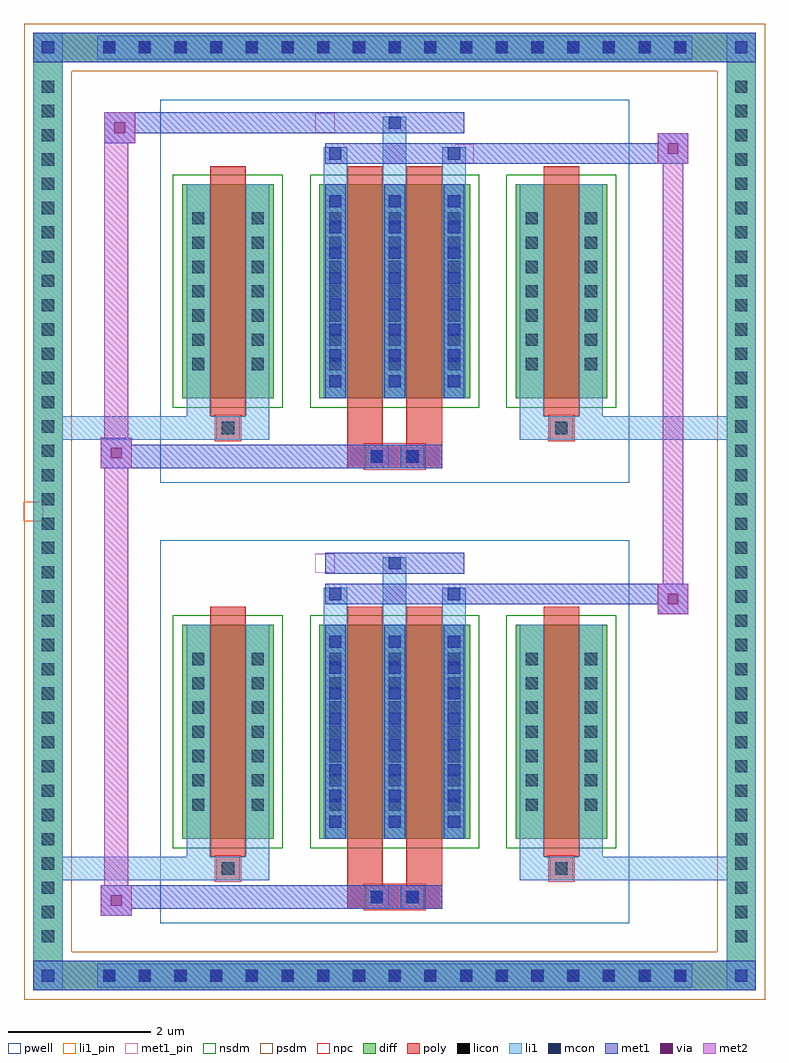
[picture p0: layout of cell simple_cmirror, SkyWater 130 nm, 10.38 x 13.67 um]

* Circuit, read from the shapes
.subckt simple_cmirror VSS
XM1 Unnamed_d2d4c8a2_13/B Unnamed_d2d4c8a2_13/B Unnamed_d2d4c8a2_13/B VSUBS sky130_fd_pr__nfet_01v8 w=3 l=0.5 m=4
XM2 Unnamed_a3629619_11/VOUT Unnamed_728062cb_10/VREF VSS VSUBS sky130_fd_pr__nfet_01v8 w=3 l=0.5 m=2
XM3 Unnamed_728062cb_10/VREF Unnamed_728062cb_10/VREF VSS VSUBS sky130_fd_pr__nfet_01v8 w=3 l=0.5 m=2
.ends

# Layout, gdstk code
import gdstk
lib = gdstk.Library(unit=1e-6, precision=5e-09)
def R(c, l, rs):  # rectangles x0, y0, x1, y1
    for r in rs: c.add(gdstk.rectangle(r[:2], r[2:], *l))
def A(c, l, x, y, w, h, nx, ny, dx, dy):  # array of equal rectangles
    R(c, l, [(x+i*dx, y+j*dy, x+i*dx+w, y+j*dy+h) for i in range(nx) for j in range(ny)])
def P(c, l, *ps):  # polygons
    for p in ps: c.add(gdstk.Polygon(p, *l))
pwell = (64, 44)
diff = (65, 20)
poly = (66, 20)
licon = (66, 44)
li1_pin = (67, 16)
li1 = (67, 20)
mcon = (67, 44)
met1_pin = (68, 16)
met1 = (68, 20)
via = (68, 44)
met2 = (69, 20)
nsdm = (93, 44)
psdm = (94, 20)
npc = (95, 20)

unnamed_410dcea9 = lib.new_cell('Unnamed_410dcea9')
R(unnamed_410dcea9, pwell, [(-3.285,-2.68,3.285,2.685)])
R(unnamed_410dcea9, diff, [(-2.975,-1.5,-1.695,1.5), (-1.055,-1.5,1.055,1.5), (1.695,-1.5,2.975,1.5)])
R(unnamed_410dcea9, poly, [(-0.665,-2.48,0.665,-2.15), (-0.415,-2.48,-0.085,-2.15), (0.085,-2.48,0.415,-2.15), (-0.665,-2.15,-0.165,-1.75), (0.165,-2.15,0.665,-1.75), (-2.5,-2.08,-2.17,-1.75), (-2.5,-2.08,-2.17,-1.75), (2.17,-2.08,2.5,-1.75), (2.17,-2.08,2.5,-1.75), (-2.585,-1.75,-2.085,1.75), (-0.665,-1.75,-0.165,1.75), (0.165,-1.75,0.665,1.75), (2.085,-1.75,2.585,1.75)])
A(unnamed_410dcea9, licon, -2.835, -1.105, 0.17, 0.17, 1, 7, 0, 0.34)
A(unnamed_410dcea9, licon, -2.005, -1.105, 0.17, 0.17, 1, 7, 0, 0.34)
A(unnamed_410dcea9, licon, -0.915, -1.105, 0.17, 0.17, 3, 7, 0.83, 0.34)
A(unnamed_410dcea9, licon, 1.835, -1.105, 0.17, 0.17, 1, 7, 0, 0.34)
A(unnamed_410dcea9, licon, 2.665, -1.105, 0.17, 0.17, 1, 7, 0, 0.34)
R(unnamed_410dcea9, licon, [(-0.335,-2.4,-0.165,-2.23), (0.165,-2.4,0.335,-2.23), (-2.42,-2,-2.25,-1.83), (2.25,-2,2.42,-1.83)])
A(unnamed_410dcea9, li1, -0.995, -1.5, 0.33, 3, 3, 1, 0.83, 0)
A(unnamed_410dcea9, li1, -0.915, -1.345, 0.17, 0.17, 3, 8, 0.83, 0.36)
A(unnamed_410dcea9, li1, -0.915, -1.345, 0.17, 2.69, 3, 1, 0.83, 0)
A(unnamed_410dcea9, li1, -2.915, -1.185, 0.33, 0.33, 1, 7, 0, 0.34)
A(unnamed_410dcea9, li1, -2.085, -1.185, 0.33, 0.33, 1, 7, 0, 0.34)
A(unnamed_410dcea9, li1, -0.995, -1.185, 0.33, 0.33, 3, 7, 0.83, 0.34)
A(unnamed_410dcea9, li1, 1.755, -1.185, 0.33, 0.33, 1, 7, 0, 0.34)
A(unnamed_410dcea9, li1, 2.585, -1.185, 0.33, 0.33, 1, 7, 0, 0.34)
R(unnamed_410dcea9, li1, [(-0.415,-2.48,-0.085,-2.15), (0.085,-2.48,0.415,-2.15), (-2.915,-2.08,-2.5,-1.75), (-2.915,-2.08,-2.585,-1.5), (-2.5,-2.08,-2.17,-1.75), (-2.17,-2.08,-1.755,-1.75), (-2.085,-2.08,-1.755,-1.5), (1.755,-2.08,2.17,-1.75), (1.755,-2.08,2.085,-1.5), (2.17,-2.08,2.5,-1.75), (2.5,-2.08,2.915,-1.75), (2.585,-2.08,2.915,-1.5), (-2.915,-1.5,-2.585,1.5), (-2.085,-1.5,-1.755,1.5), (1.755,-1.5,2.085,1.5), (2.585,-1.5,2.915,1.5), (-0.995,1.5,-0.665,2.015), (-0.165,1.5,0.165,2.445), (0.665,1.5,0.995,2.015), (-0.915,1.845,-0.745,2.015), (0.745,1.845,0.915,2.015), (-0.085,2.275,0.085,2.445)])
A(unnamed_410dcea9, mcon, -0.915, -1.345, 0.17, 0.17, 3, 8, 0.83, 0.36)
R(unnamed_410dcea9, mcon, [(-0.335,-2.4,-0.165,-2.23), (0.165,-2.4,0.335,-2.23), (-0.915,1.845,-0.745,2.015), (0.745,1.845,0.915,2.015), (-0.085,2.275,0.085,2.445)])
A(unnamed_410dcea9, met1, -0.975, -1.5, 0.29, 3, 3, 1, 0.83, 0)
A(unnamed_410dcea9, met1, -0.975, -1.405, 0.29, 0.29, 3, 8, 0.83, 0.36)
R(unnamed_410dcea9, met1, [(-0.665,-2.48,0.665,-2.15), (-0.395,-2.46,-0.105,-2.17), (0.105,-2.46,0.395,-2.17), (-0.975,1.785,-0.685,2.075), (-0.975,1.785,0.975,2.075), (0.685,1.785,0.975,2.075), (-0.975,2.215,0.975,2.505), (-0.145,2.215,0.145,2.505)])
R(unnamed_410dcea9, nsdm, [(-3.105,-1.63,-1.565,1.63), (-1.185,-1.63,1.185,1.63), (1.565,-1.63,3.105,1.63)])
R(unnamed_410dcea9, npc, [(-0.435,-2.5,-0.065,-2.13), (-0.435,-2.5,0.435,-2.13), (-0.435,-2.5,0.435,-2.13), (0.065,-2.5,0.435,-2.13), (-2.52,-2.1,-2.15,-1.73), (2.15,-2.1,2.52,-1.73)])

c_route_70ce4e25 = lib.new_cell('c_route_70ce4e25')
R(c_route_70ce4e25, met1, [(-4.115,-5.665,-3.685,-5.235), (-4.115,-5.565,-0.665,-5.235), (-4.115,0.605,-0.665,0.935), (-4.115,0.605,-3.685,1.035)])
R(c_route_70ce4e25, via, [(-3.975,-5.525,-3.825,-5.375), (-3.975,0.745,-3.825,0.895)])
R(c_route_70ce4e25, met2, [(-4.115,-5.665,-3.685,-5.235), (-3.735,-5.665,-3.685,-5.235), (-4.065,-5.66,-3.735,1.035), (-4.065,-5.615,-3.735,-5.285), (-4.115,0.605,-3.685,1.035), (-3.735,0.605,-3.685,1.035), (-4.065,0.655,-3.735,0.985)])

c_route_041a3b11 = lib.new_cell('c_route_041a3b11')
R(c_route_041a3b11, met1, [(3.685,-1.44,4.115,-1.01), (0.975,-1.3,4.115,-1.01), (0.975,4.87,4.115,5.16), (3.685,4.87,4.115,5.3)])
R(c_route_041a3b11, via, [(3.825,-1.3,3.975,-1.15), (3.825,5.01,3.975,5.16)])
R(c_route_041a3b11, met2, [(3.685,-1.44,4.115,-1.01), (3.755,-1.44,4.045,5.3), (4.045,-1.44,4.115,-1.01), (3.735,-1.39,4.065,-1.06), (3.685,4.87,4.115,5.3), (4.045,4.87,4.115,5.3), (3.735,4.92,4.065,5.25)])

l_route_6b04e5a1 = lib.new_cell('L_route_6b04e5a1')
R(l_route_6b04e5a1, met1, [(-4.065,5.16,-3.635,5.59), (-4.065,5.16,-3.635,5.59), (-4.065,5.3,-0.975,5.59)])
R(l_route_6b04e5a1, via, [(-3.925,5.3,-3.775,5.45)])
R(l_route_6b04e5a1, met2, [(-4.065,1.035,-3.735,5.585), (-4.065,5.16,-3.635,5.59), (-4.015,5.21,-3.685,5.54)])

unnamed_c754d34c_1 = lib.new_cell('Unnamed_c754d34c$1')
A(unnamed_c754d34c_1, diff, -4.205, -6.705, 0.41, 0.41, 17, 2, 0.5, 13)
A(unnamed_c754d34c_1, diff, -5.06, -6.155, 0.41, 0.41, 1, 36, 0, 0.34)
A(unnamed_c754d34c_1, diff, 4.65, -6.155, 0.41, 0.41, 1, 36, 0, 0.34)
R(unnamed_c754d34c_1, diff, [(-4.205,-6.705,4.205,-6.295), (-5.06,-6.155,-4.65,6.155), (4.65,-6.155,5.06,6.155), (-4.205,6.295,4.205,6.705)])
P(unnamed_c754d34c_1, diff, [(5.06,6.705),(-5.06,6.705),(-5.06,-6.295),(-4.65,-6.295),(-4.65,6.295),(4.65,6.295),(4.65,-6.295),(-4.65,-6.295),(-5.06,-6.295),(-5.06,-6.705),(5.06,-6.705)])
A(unnamed_c754d34c_1, licon, -4.085, -6.585, 0.17, 0.17, 17, 2, 0.5, 13)
A(unnamed_c754d34c_1, licon, -4.94, -6.035, 0.17, 0.17, 1, 36, 0, 0.34)
A(unnamed_c754d34c_1, licon, 4.77, -6.035, 0.17, 0.17, 1, 36, 0, 0.34)
A(unnamed_c754d34c_1, li1, -4.165, -6.665, 0.33, 0.33, 17, 2, 0.5, 13)
A(unnamed_c754d34c_1, li1, -5.02, -6.115, 0.33, 0.33, 1, 36, 0, 0.34)
A(unnamed_c754d34c_1, li1, 4.69, -6.115, 0.33, 0.33, 1, 36, 0, 0.34)
R(unnamed_c754d34c_1, li1, [(-5.06,-6.705,-4.65,-6.295), (4.65,-6.705,5.06,-6.295), (-4.165,-6.665,4.165,-6.335), (-4.94,-6.585,-4.77,-6.415), (-4.94,-6.585,-4.77,-6.415), (4.77,-6.585,4.94,-6.415), (4.77,-6.585,4.94,-6.415), (-5.06,-6.295,-4.65,6.295), (4.65,-6.295,5.06,6.295), (-5.06,6.295,-4.65,6.705), (4.65,6.295,5.06,6.705), (-4.165,6.335,4.165,6.665), (-4.94,6.415,-4.77,6.585), (-4.94,6.415,-4.77,6.585), (4.77,6.415,4.94,6.585), (4.77,6.415,4.94,6.585)])
A(unnamed_c754d34c_1, mcon, -4.085, -6.585, 0.17, 0.17, 17, 2, 0.5, 13)
R(unnamed_c754d34c_1, mcon, [(-4.94,-6.585,-4.77,-6.415), (4.77,-6.585,4.94,-6.415), (-4.94,6.415,-4.77,6.585), (4.77,6.415,4.94,6.585)])
A(unnamed_c754d34c_1, met1, -4.145, -6.645, 0.29, 0.29, 17, 2, 0.5, 13)
R(unnamed_c754d34c_1, met1, [(-5.06,-6.705,-4.65,-6.295), (-5.06,-6.705,-4.65,-6.295), (-4.65,-6.705,4.65,-6.295), (4.65,-6.705,5.06,-6.295), (4.65,-6.705,5.06,-6.295), (-5,-6.645,-4.71,-6.355), (4.71,-6.645,5,-6.355), (-5.06,6.295,-4.65,6.705), (-5.06,6.295,-4.65,6.705), (-4.65,6.295,4.65,6.705), (4.65,6.295,5.06,6.705), (4.65,6.295,5.06,6.705), (-5,6.355,-4.71,6.645), (4.71,6.355,5,6.645)])
P(unnamed_c754d34c_1, psdm, [(5.19,6.835),(-5.19,6.835),(-5.19,-6.165),(-4.52,-6.165),(-4.52,6.165),(4.52,6.165),(4.52,-6.165),(-4.52,-6.165),(-5.19,-6.165),(-5.19,-6.835),(5.19,-6.835)])

straight_route_ebdbceff = lib.new_cell('straight_route_ebdbceff')
R(straight_route_ebdbceff, li1, [(-5.06,1.005,-2.5,1.335)])

straight_route_e8090190 = lib.new_cell('straight_route_e8090190')
R(straight_route_e8090190, li1, [(2.5,1.005,5.06,1.335)])

straight_route_dd2e071c = lib.new_cell('straight_route_dd2e071c')
R(straight_route_dd2e071c, li1, [(-5.06,-5.165,-2.5,-4.835)])

straight_route_a95c0a01 = lib.new_cell('straight_route_a95c0a01')
R(straight_route_a95c0a01, li1, [(2.5,-5.165,5.06,-4.835)])

compass_2dab530a = lib.new_cell('compass_2dab530a')
R(compass_2dab530a, met1_pin, [(-0.135,-0.135,0.135,0.135)])

unnamed_728062cb = lib.new_cell('Unnamed_728062cb')
unnamed_728062cb.add(gdstk.Reference(compass_2dab530a, (0,0)))
unnamed_728062cb.add(gdstk.Label('VREF', (0,0), layer=68, texttype=5))

compass_2dab530a_1 = lib.new_cell('compass_2dab530a$1')
R(compass_2dab530a_1, met1_pin, [(-0.135,-0.135,0.135,0.135)])

unnamed_a3629619 = lib.new_cell('Unnamed_a3629619')
unnamed_a3629619.add(gdstk.Reference(compass_2dab530a_1, (0,0)))
unnamed_a3629619.add(gdstk.Label('VOUT', (0,0), layer=68, texttype=5))

compass_2dab530a_2 = lib.new_cell('compass_2dab530a$2')
R(compass_2dab530a_2, met1_pin, [(-0.135,-0.135,0.135,0.135)])

unnamed_f13bc8e4 = lib.new_cell('Unnamed_f13bc8e4')
unnamed_f13bc8e4.add(gdstk.Reference(compass_2dab530a_2, (0,0)))
unnamed_f13bc8e4.add(gdstk.Label('VSS', (0,0), layer=68, texttype=5))

compass_ac238b20 = lib.new_cell('compass_ac238b20')
R(compass_ac238b20, li1_pin, [(-0.135,-0.135,0.135,0.135)])

unnamed_d2d4c8a2 = lib.new_cell('Unnamed_d2d4c8a2')
unnamed_d2d4c8a2.add(gdstk.Reference(compass_ac238b20, (0,0)))
unnamed_d2d4c8a2.add(gdstk.Label('B', (0,0), layer=67, texttype=5))

simple_cmirror = lib.new_cell('simple_cmirror')
simple_cmirror.add(gdstk.Reference(unnamed_410dcea9, (0,3.085)))
simple_cmirror.add(gdstk.Reference(unnamed_410dcea9, (0,-3.085)))
simple_cmirror.add(gdstk.Reference(c_route_70ce4e25, (0,0)))
simple_cmirror.add(gdstk.Reference(c_route_041a3b11, (0,0)))
simple_cmirror.add(gdstk.Reference(l_route_6b04e5a1, (0,0)))
simple_cmirror.add(gdstk.Reference(unnamed_c754d34c_1, (0,0)))
simple_cmirror.add(gdstk.Reference(straight_route_ebdbceff, (0,0)))
simple_cmirror.add(gdstk.Reference(straight_route_e8090190, (0,0)))
simple_cmirror.add(gdstk.Reference(straight_route_dd2e071c, (0,0)))
simple_cmirror.add(gdstk.Reference(straight_route_a95c0a01, (0,0)))
simple_cmirror.add(gdstk.Reference(unnamed_728062cb, (-0.975,5.44)))
simple_cmirror.add(gdstk.Reference(unnamed_a3629619, (-0.975,-0.725)))
simple_cmirror.add(gdstk.Reference(unnamed_f13bc8e4, (0.975,5.01)))
simple_cmirror.add(gdstk.Reference(unnamed_d2d4c8a2, (-5.06,0)))

lib.write_gds('simple_cmirror.gds')
